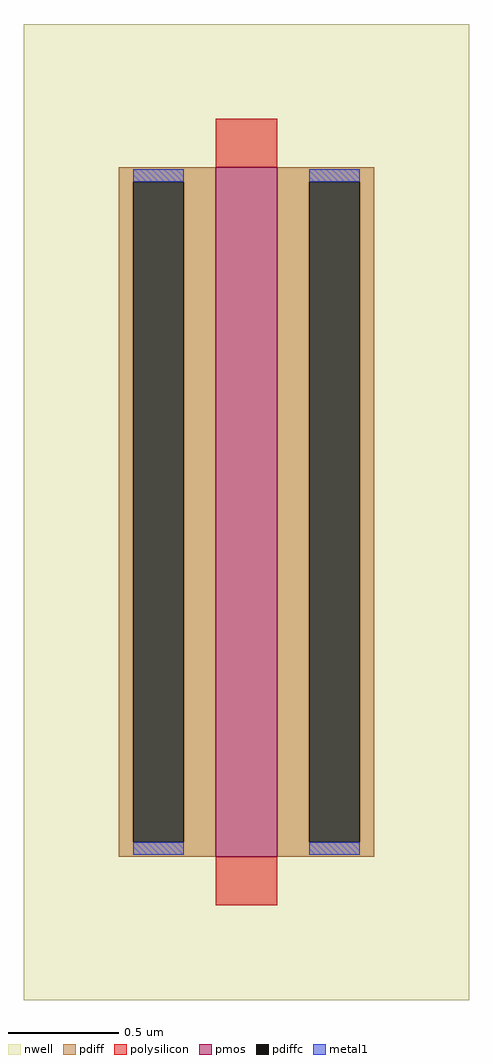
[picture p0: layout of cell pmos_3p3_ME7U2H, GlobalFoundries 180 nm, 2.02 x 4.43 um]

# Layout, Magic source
magic
tech gf180mcuC
magscale 1 10
<< nwell >>
rect -202 -443 202 443
<< pmos >>
rect -28 -313 28 313
<< pdiff >>
rect -116 300 -28 313
rect -116 -300 -103 300
rect -57 -300 -28 300
rect -116 -313 -28 -300
rect 28 300 116 313
rect 28 -300 57 300
rect 103 -300 116 300
rect 28 -313 116 -300
<< pdiffc >>
rect -103 -300 -57 300
rect 57 -300 103 300
<< polysilicon >>
rect -28 313 28 357
rect -28 -357 28 -313
<< metal1 >>
rect -103 300 -57 311
rect -103 -311 -57 -300
rect 57 300 103 311
rect 57 -311 103 -300
<< properties >>
string gencell pmos_3p3
string library gf180mcu
string parameters w 3.125 l 0.280 m 1 nf 1 diffcov 100 polycov 100 guard 0 glc 0 grc 0 gtc 0 gbc 0 tbcov 100 rlcov 100 topc 0 botc 0 poverlap 0 doverlap 1 lmin 0.28 wmin 0.22 full_metal 0 compatible {pmos_3p3 pmos_6p0}
<< end >>
